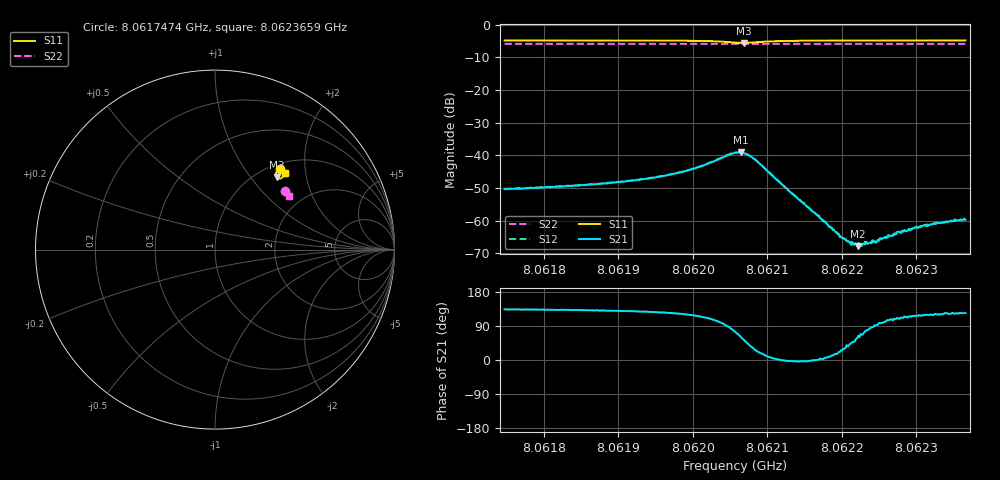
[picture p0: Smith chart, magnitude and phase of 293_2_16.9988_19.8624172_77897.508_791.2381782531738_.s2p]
#  HZ  S  RI  R  50.00
! Rohde & Schwarz Vector Network Analyzer
! Rohde-Schwarz,ZNB20-2Port,1311601062101988,3.16
! Created: UTC 3/20/2024, 11:05:11 PM
! freq[Hz]  re:S11  im:S11  re:S21  im:S21  re:S12  im:S12  re:S22  im:S22
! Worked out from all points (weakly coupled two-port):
!   401 points, 8.0617474 GHz to 8.0623659 GHz, reference 50 ohm
!   highest |S21| = -39.03 dB at 8.0620644 GHz (marker M1); lowest = -67.8 dB at 8.0622221 GHz (marker M2)
!   lowest |S11| = -5.5 dB at 8.062069 GHz (marker M3), VSWR 3.24, Z = 60.8 + j67.8 ohm
!   |S11| at or under -10 dB: nowhere
!   |S22| runs from -5.9 to -5.8 dB; largest |S21 - S12| = 0.00098
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8.0617474e9  0.361 0.4487  -0.00211 0.0022  -0.00201 0.00235  0.3925 0.3284
8.061851e9  0.3683 0.4422  -0.00234 0.00263  -0.00217 0.0028  0.3964 0.3232
8.06190048e9  0.372 0.4386  -0.00251 0.00304  -0.00235 0.00316  0.3985 0.3207
8.06195459e9  0.3768 0.4327  -0.00276 0.00381  -0.00255 0.00403  0.4003 0.3178
8.06199943e9  0.3808 0.4234  -0.00292 0.00544  -0.00259 0.00571  0.402 0.3152
8.06205664e9  0.3607 0.3953  0.00295 0.0106  0.00362 0.0104  0.4027 0.3117
8.06206437e9  0.3494 0.3977  0.00543 0.00977  0.00611 0.00933  0.4024 0.3116
8.06206901e9  0.3436 0.4018  0.00654 0.00854  0.00725 0.00813  0.4026 0.3116
8.0620752e9  0.3387 0.4097  0.00762 0.00663  0.00809 0.00603  0.4026 0.3118
8.06208447e9  0.338 0.422  0.00762 0.00373  0.00784 0.00324  0.403 0.3119
8.06216024e9  0.3675 0.4385  0.0014 -4.05e-05  0.00143 -0.000104  0.4072 0.3086
8.06219735e9  0.3736 0.4361  0.000525 0.000203  0.000566 0.000174  0.4087 0.3065
8.06220199e9  0.3741 0.4357  0.00047 0.000267  0.000506 0.000209  0.4088 0.3064
8.06221126e9  0.3752 0.435  0.000333 0.000304  0.00036 0.000271  0.4094 0.3059
8.06222209e9  0.3764 0.4344  0.00018 0.000366  0.000258 0.000378  0.4098 0.3054
8.06222827e9  0.377 0.4341  0.00017 0.000411  0.000166 0.000384  0.41 0.3051
8.06224373e9  0.3786 0.433  -1e-05 0.000482  2.26e-05 0.000476  0.4105 0.3042
8.06226383e9  0.3803 0.4319  -0.000157 0.00057  -0.000129 0.000578  0.4113 0.3031
8.06226847e9  0.3808 0.4315  -0.000143 0.000568  -0.000147 0.000582  0.4113 0.3029
8.06227466e9  0.3814 0.4312  -0.000246 0.000634  -0.000201 0.000606  0.4117 0.3025
8.06230867e9  0.384 0.4292  -0.000386 0.000735  -0.000347 0.000762  0.4129 0.3009
8.06236588e9  0.3879 0.426  -0.000571 0.00086  -0.000525 0.000941  0.4149 0.2979
